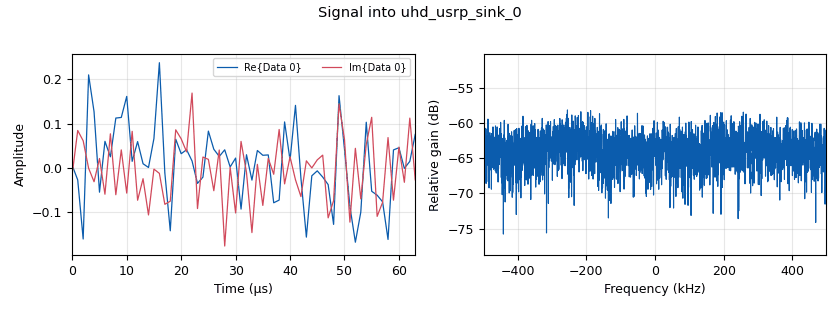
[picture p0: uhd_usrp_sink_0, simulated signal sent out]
options:
  parameters:
    generate_options: qt_gui
    id: kerem
    output_language: python
  states: {}

blocks:
- name: Data
  id: variable
  parameters:
    value: numpy.array(numpy.random.randint(M,size=dat_len))
  states: {}
- name: Data_0
  id: variable
  parameters:
    value: '[3,3,3,3,3,0,3,0,1,1,3,0,3,3,0,2,0,1,0,3,1,3,3,3,0,0,2,0,2,1,2,3,2,0,0,2,2,2,1,2,1,2,3,0,1,2,2,1,2,2]'
  states: {state: disabled}
- name: M
  id: variable_qtgui_chooser
  parameters:
    gui_hint: 3,1,1,1
    label: Modulation Order
    num_opts: '5'
    option0: '4'
    option1: '16'
    option2: '64'
    option3: '256'
    option4: '1024'
    orient: Qt.QHBoxLayout
    type: int
    value: '4'
    widget: radio_buttons
  states: {state: disabled}
- name: M
  id: variable
  parameters:
    value: '4'
  states: {}
- name: VGA
  id: variable_qtgui_range
  parameters:
    label: Gain
    orient: Qt.Horizontal
    start: '1'
    step: '1'
    stop: '1000'
    value: '2'
  states: {state: disabled}
- name: dat_len
  id: variable
  parameters:
    value: (fram_len//filt_len)
  states: {}
- name: filt_len
  id: variable
  parameters:
    value: span*sps+1
  states: {}
- name: fram_len
  id: variable
  parameters:
    value: '4096'
  states: {}
- name: frame_len
  id: variable
  parameters:
    value: dat_len*filt_len
  states: {}
- name: freq
  id: variable_qtgui_range
  parameters:
    gui_hint: 2,1,1,1
    label: Frequency
    orient: Qt.Horizontal
    start: '0'
    step: '0.05'
    stop: '0.5'
    value: '0.25'
  states: {}
- name: freq
  id: variable
  parameters:
    value: '0.25'
  states: {state: disabled}
- name: inph
  id: variable
  parameters:
    value: numpy.multiply(rrrc,numpy.cos(numpy.array(range(filt_len))*2*math.pi*freq))
  states: {}
- name: noise
  id: variable_qtgui_range
  parameters:
    gui_hint: 2,0,1,1
    label: Noise Power
    orient: Qt.Horizontal
    start: '-30'
    step: '0.5'
    stop: '10'
    value: '-10'
  states: {}
- name: quad
  id: variable
  parameters:
    value: numpy.multiply(rrrc,numpy.sin(numpy.array(range(filt_len))*2*math.pi*freq))
  states: {}
- name: rrrc
  id: variable_rrc_filter_taps
  parameters:
    alpha: '0.1'
    gain: numpy.sqrt(sps*2)
    ntaps: filt_len
    samp_rate: samp_rate
    sym_rate: samp_rate/sps
  states: {}
- name: samp_rate
  id: variable
  parameters:
    value: '1000000'
  states: {}
- name: span
  id: variable
  parameters:
    value: '8'
  states: {}
- name: sps
  id: variable
  parameters:
    value: '6'
  states: {}
- name: blocks_add_xx_0
  id: blocks_add_xx
  parameters:
    type: float
  states: {}
- name: blocks_complex_to_float_0
  id: blocks_complex_to_float
  parameters: {}
  states: {}
- name: blocks_complex_to_float_1
  id: blocks_complex_to_float
  parameters: {}
  states: {}
- name: blocks_complex_to_mag_squared_0
  id: blocks_complex_to_mag_squared
  parameters: {}
  states: {state: disabled}
- name: blocks_delay_0
  id: blocks_delay
  parameters:
    delay: '1'
    type: complex
  states: {state: disabled}
- name: blocks_file_sink_0
  id: blocks_file_sink
  parameters:
    file: /Users/keremenhos/Desktop/NEU/VLC v2/GNURadio/data_test.dat
    type: complex
  states: {state: disabled}
- name: blocks_file_sink_0_0
  id: blocks_file_sink
  parameters:
    file: /Users/keremenhos/Desktop/NEU/VLC v2/GNURadio/data_test2.dat
    type: complex
  states: {state: disabled}
- name: blocks_file_sink_0_1
  id: blocks_file_sink
  parameters:
    file: /Users/keremenhos/Desktop/NEU/VLC v2/GNURadio/data_test.dat
    type: float
  states: {state: disabled}
- name: blocks_float_to_complex_0
  id: blocks_float_to_complex
  parameters: {}
  states: {}
- name: blocks_float_to_complex_1
  id: blocks_float_to_complex
  parameters: {}
  states: {}
- name: blocks_keep_m_in_n_0
  id: blocks_keep_m_in_n
  parameters:
    m: '1'
    n: filt_len
    offset: filt_len-2
    type: complex
  states: {}
- name: blocks_keep_m_in_n_1
  id: blocks_keep_m_in_n
  parameters:
    m: frame_len
    n: fram_len
    offset: '0'
    type: float
  states: {}
- name: blocks_multiply_const_vxx_0
  id: blocks_multiply_const_vxx
  parameters:
    const: '0.15'
    type: complex
  states: {}
- name: blocks_null_sink_0
  id: blocks_null_sink
  parameters:
    type: complex
  states: {state: disabled}
- name: blocks_null_sink_1
  id: blocks_null_sink
  parameters:
    type: int
  states: {state: disabled}
- name: blocks_stream_to_tagged_stream_0
  id: blocks_stream_to_tagged_stream
  parameters:
    len_tag_key: packet_len
    packet_len: '510'
    type: float
  states: {}
- name: blocks_stream_to_tagged_stream_1
  id: blocks_stream_to_tagged_stream
  parameters:
    len_tag_key: packet_len
    maxoutbuf: '8192'
    packet_len: frame_len
    type: float
  states: {}
- name: blocks_stream_to_tagged_stream_2
  id: blocks_stream_to_tagged_stream
  parameters:
    len_tag_key: pck
    packet_len: frame_len
    type: float
  states: {}
- name: blocks_tag_gate_0
  id: blocks_tag_gate
  parameters:
    propagate_tags: 'False'
    type: float
  states: {}
- name: blocks_tagged_stream_mux_0
  id: blocks_tagged_stream_mux
  parameters:
    lengthtagname: packet_len
    ninputs: '2'
    type: float
  states: {}
- name: blocks_vector_insert_x_0
  id: blocks_vector_insert_x
  parameters:
    offset: '0'
    period: filt_len
    type: float
    vector: '[0]*(filt_len-1)'
  states: {}
- name: blocks_vector_insert_x_0_0
  id: blocks_vector_insert_x
  parameters:
    offset: '0'
    period: filt_len
    type: float
    vector: '[0]*(filt_len-1)'
  states: {}
- name: blocks_vector_source_x_0
  id: blocks_vector_source_x
  parameters:
    repeat: 'True'
    type: float
    vector: '[-1,-1,-1,-1,-1,-1,-1,-1,1,-1,-1,-1,1,-1,-1,-1,1,1,-1,-1,1,-1,-1,-1,1,1,1,-1,1,-1,1,-1,1,1,-1,1,1,-1,-1,-1,1,1,1,-1,-1,-1,1,-1,-1,1,-1,1,-1,1,-1,-1,-1,1,1,-1,1,1,-1,-1,1,1,1,1,1,-1,-1,1,1,1,1,-1,-1,-1,1,-1,1,1,-1,1,1,1,-1,-1,1,-1,1,-1,-1,1,-1,-1,-1,-1,-1,1,-1,-1,1,1,-1,-1,1,1,1,-1,1,-1,-1,-1,1,1,1,1,1,-1,1,1,1,1,-1,-1,-1,-1,-1,1,1,1,1,1,1,1,1,1,-1,-1,-1,-1,1,1,1,1,-1,1,1,1,-1,-1,-1,-1,1,-1,1,1,-1,-1,1,1,-1,1,1,-1,1,1,1,1,-1,1,-1,-1,-1,-1,1,1,1,-1,-1,1,1,-1,-1,-1,-1,1,-1,-1,1,-1,-1,-1,1,-1,1,-1,1,1,1,-1,1,-1,1,1,1,1,-1,-1,1,-1,-1,1,-1,1,1,1,-1,-1,1,1,1,-1,-1,-1,-1,-1,-1,1,1,1,-1,1,1,1,-1,1,-1,-1,1,1,1,1,-1,1,-1,1,-1,-1,1,-1,1,-1,-1,-1,-1,-1,-1,1,-1,1,-1,1,-1,1,-1,1,1,1,1,1,-1,1,-1,1,1,-1,1,-1,-1,-1,-1,-1,1,1,-1,1,1,1,-1,1,1,-1,1,1,-1,1,-1,1,1,-1,-1,-1,-1,-1,1,-1,1,1,1,-1,1,1,1,1,1,-1,-1,-1,1,1,1,1,-1,-1,1,1,-1,1,-1,-1,1,1,-1,1,-1,1,1,1,-1,-1,-1,1,1,-1,1,-1,-1,-1,1,-1,1,1,1,1,1,1,1,-1,1,-1,-1,1,-1,1,1,-1,-1,-1,1,-1,1,-1,-1,1,1,-1,-1,-1,1,1,-1,-1,-1,-1,-1,-1,-1,1,1,-1,-1,1,1,-1,-1,1,-1,1,-1,1,1,-1,-1,1,-1,-1,1,1,1,1,1,1,-1,1,1,-1,1,-1,-1,1,-1,-1,1,-1,-1,1,1,-1,1,1,1,1,1,1,-1,-1,1,-1,1,1,-1,1,-1,1,-1,-1,-1,-1,1,-1,1,-1,-1,-1,1,-1,-1,1,1,1,-1,1,1,-1,-1,1,-1,1,1,1,1,-1,1,1,-1,-1,-1,-1,1,1,-1,1,-1,1,-1,1,-1,-1,1,1,1,-1,-1,1,-1,-1,-1,-1,1,1,-1,-1,-1,1,-1,-1,-1,-1]'
  states: {}
- name: blocks_vector_source_x_0_0
  id: blocks_vector_source_x
  parameters:
    repeat: 'True'
    type: int
    vector: Data
  states: {}
- name: channels_channel_model_0
  id: channels_channel_model
  parameters:
    block_tags: 'True'
    epsilon: '1'
    freq_offset: '0'
    noise_voltage: 10.0**(noise/10.0)
    seed: '0'
    taps: '1'
  states: {}
- name: digital_corr_est_cc_0
  id: digital_corr_est_cc
  parameters:
    mark_delay: '509'
    sps: '1'
    symbols: '[-1,-1,-1,-1,-1,-1,-1,-1,1,-1,-1,-1,1,-1,-1,-1,1,1,-1,-1,1,-1,-1,-1,1,1,1,-1,1,-1,1,-1,1,1,-1,1,1,-1,-1,-1,1,1,1,-1,-1,-1,1,-1,-1,1,-1,1,-1,1,-1,-1,-1,1,1,-1,1,1,-1,-1,1,1,1,1,1,-1,-1,1,1,1,1,-1,-1,-1,1,-1,1,1,-1,1,1,1,-1,-1,1,-1,1,-1,-1,1,-1,-1,-1,-1,-1,1,-1,-1,1,1,-1,-1,1,1,1,-1,1,-1,-1,-1,1,1,1,1,1,-1,1,1,1,1,-1,-1,-1,-1,-1,1,1,1,1,1,1,1,1,1,-1,-1,-1,-1,1,1,1,1,-1,1,1,1,-1,-1,-1,-1,1,-1,1,1,-1,-1,1,1,-1,1,1,-1,1,1,1,1,-1,1,-1,-1,-1,-1,1,1,1,-1,-1,1,1,-1,-1,-1,-1,1,-1,-1,1,-1,-1,-1,1,-1,1,-1,1,1,1,-1,1,-1,1,1,1,1,-1,-1,1,-1,-1,1,-1,1,1,1,-1,-1,1,1,1,-1,-1,-1,-1,-1,-1,1,1,1,-1,1,1,1,-1,1,-1,-1,1,1,1,1,-1,1,-1,1,-1,-1,1,-1,1,-1,-1,-1,-1,-1,-1,1,-1,1,-1,1,-1,1,-1,1,1,1,1,1,-1,1,-1,1,1,-1,1,-1,-1,-1,-1,-1,1,1,-1,1,1,1,-1,1,1,-1,1,1,-1,1,-1,1,1,-1,-1,-1,-1,-1,1,-1,1,1,1,-1,1,1,1,1,1,-1,-1,-1,1,1,1,1,-1,-1,1,1,-1,1,-1,-1,1,1,-1,1,-1,1,1,1,-1,-1,-1,1,1,-1,1,-1,-1,-1,1,-1,1,1,1,1,1,1,1,-1,1,-1,-1,1,-1,1,1,-1,-1,-1,1,-1,1,-1,-1,1,1,-1,-1,-1,1,1,-1,-1,-1,-1,-1,-1,-1,1,1,-1,-1,1,1,-1,-1,1,-1,1,-1,1,1,-1,-1,1,-1,-1,1,1,1,1,1,1,-1,1,1,-1,1,-1,-1,1,-1,-1,1,-1,-1,1,1,-1,1,1,1,1,1,1,-1,-1,1,-1,1,1,-1,1,-1,1,-1,-1,-1,-1,1,-1,1,-1,-1,-1,1,-1,-1,1,1,1,-1,1,1,-1,-1,1,-1,1,1,1,1,-1,1,1,-1,-1,-1,-1,1,1,-1,1,-1,1,-1,1,-1,-1,1,1,1,-1,-1,1,-1,-1,-1,-1,1,1,-1,-1,-1,1,-1,-1,-1,-1]'
    threshold: '0.03'
    threshold_method: digital.THRESHOLD_ABSOLUTE
  states: {}
- name: epy_block_0
  id: epy_block
  parameters:
    M: M
    _source_code: |
      """
      Embedded Python Blocks:

      Each time this file is saved, GRC will instantiate the first class it finds
      to get ports and parameters of your block. The arguments to __init__  will
      be the parameters. All of them are required to have default values!
      """

      import numpy as np
      import time
      from gnuradio import gr


      class blk(gr.sync_block):  # other base classes are basic_block, decim_block, interp_block
          """Embedded Python Block example - a simple multiply const"""

          def __init__(self, M=4):  # only default arguments here
              """arguments to this function show up as parameters in GRC"""
              gr.sync_block.__init__(
                  self,
                  name='QAM Modulator',   # will show up in GRC
                  in_sig=[np.int32],
                  out_sig=[np.complex64]
              )
              self.M = M
              self.tM = self.M
              self.c = 0
              
          def modulat(self, MO):
              n = np.arange(0,MO)
              a = np.asarray([x^(x>>1) for x in n])
              D = np.sqrt(MO).astype(int)
              a = np.reshape(a,(D,D))
              a[1::2, :] = a[1::2, ::-1]
              nGray=np.reshape(a,(MO))
              x1 = nGray//D
              y = nGray%D
              Ay=2*y+1-D
              Ax=2*x1+1-D
              cons = Ax+1j*Ay
              cons = cons/np.max(np.absolute((np.real(cons))))
              return cons

          def work(self, input_items, output_items):
              
              self.cons = self.modulat(self.M)
                      
              for xx in range(len(input_items[0])):
                  output_items[0][xx] = self.cons[input_items[0][xx]]

              return len(output_items[0])
  states: {}
- name: epy_block_1
  id: epy_block
  parameters:
    _source_code: |
      import time
      import random
      import numpy as np

      from gnuradio import gr
      from gnuradio import gr_unittest
      from gnuradio import digital
      from gnuradio import blocks
      from gnuradio import grc
      import pmt
      import inspect

      class blk(gr.basic_block):
          def __init__(self, frame_length=1):
              
              gr.basic_block.__init__(
                  self,
                  name="Preamble Demux",
                  in_sig=[np.float32],
                  out_sig=[np.float32]
              )
              self.a = 0
              self.aa = 0
              self.buf = []
              self.off = 0
              self.det = 0
              self.flg2 = 0
              self.b = 0
              self.frame_length = frame_length
              
          def forecast(self, noutput_items, ninput_items_required):
              #setup size of input_items[i] for work call
              for i in range(len(ninput_items_required)):
                  ninput_items_required[i] = 4096
                  
          def general_work(self, input_items, output_items):
              in0 = input_items[0][:len(output_items[0])]
              out = output_items[0]
              
              if self.det == 0:
                  tags = self.get_tags_in_window(0, 0, len(in0))
                  for tag in tags:
                      offset = tag.offset
                      key = pmt.to_python(tag.key) # convert from PMT to python string
                      if key == 'corr_est':
                          self.off = offset
                          self.det = 1
                          self.flg2 = 0
                          self.buf.extend(in0[(self.off-self.aa)+1:])
                          break
                  if self.det == 0:
                      self.b = 0
                      if len(out) >= self.frame_length:
                          out[:self.frame_length] = np.zeros(self.frame_length)
                      else:
                          out[:] = np.zeros(len(out))
                          
              if len(self.buf)<self.frame_length and self.det == 1 and self.flg2 == 1:
                  self.buf.extend(in0)
              
              if len(self.buf)>=self.frame_length and self.det == 1 and len(out)>=self.frame_length:
                  out[:self.frame_length] = self.buf[:self.frame_length]
                  self.buf = []
                  self.det = 0
                  self.b = 1

              self.flg2 = 1
              self.aa = self.aa + len(in0)
              
              self.consume(0, len(in0)) #consume port 0 input
              
              if self.b == 0:
                  return 0
              else:
                  return 4096
    frame_length: fram_len
    minoutbuf: '4096'
  states: {}
- name: epy_block_2
  id: epy_block
  parameters:
    M: M
    _source_code: |
      """
      Embedded Python Blocks:

      Each time this file is saved, GRC will instantiate the first class it finds
      to get ports and parameters of your block. The arguments to __init__  will
      be the parameters. All of them are required to have default values!
      """
      import time
      import random
      import numpy as np

      from gnuradio import gr
      from gnuradio import gr_unittest
      from gnuradio import digital
      from gnuradio import blocks
      from gnuradio import grc
      import pmt
      import inspect


      class blk(gr.sync_block):  # other base classes are basic_block, decim_block, interp_block
          """Embedded Python Block example - a simple multiply const"""

          def __init__(self, data_length=1.0, M=4, tag='', bin_data=[]):  # only default arguments here
              """arguments to this function show up as parameters in GRC"""
              gr.sync_block.__init__(
                  self,
                  name='QAM Demodulator',   # will show up in GRC
                  in_sig=[np.complex64],
                  out_sig=[np.int32, np.float32]
              )
              # if an attribute with the same name as a parameter is found,
              # a callback is registered (properties work, too).
              self.data_length = data_length
              self.buf = []
              self.tag = tag
              self.aa = 0
              self.det = 0
              self.flg2 = 0
              self.bin_data = bin_data
              self.c = 0
              self.ber = 0
              self.cc = 0
              self.t = 0
              self.bert = 0
              self.M=M
              self.sM = int(np.sqrt(self.M))

              
          def get_minimum_distances(self, sample):
               if (sample.imag >= 0 and sample.real >= 0):
                   return 3 # 1+1j
               elif (sample.imag >= 0 and sample.real < 0):
                   return 1 # -1+1j
               elif (sample.imag < 0 and sample.real < 0):
                   return 0 # -1-1j
               elif (sample.imag < 0 and sample.real >= 0):
                   return 2 # 1-1j
                       
          def dec2bin(self, x, n=0):
              return format(x, 'b').zfill(n)

          def work(self, input_items, output_items):
              if self.det == 0:
                  tags = self.get_tags_in_window(0, 0, len(input_items[0]))
                  for tagg in tags:
                      offset = tagg.offset
                      key = pmt.to_python(tagg.key) # convert from PMT to python string
                      if key == self.tag:
                          self.off = offset
                          self.det = 1
                          self.flg2 = 0
                          self.buf.extend(input_items[0][(self.off-self.aa)+1:])
      #                    print(self.tag)
                          break
                          
              if len(self.buf)<self.data_length and self.det == 1 and self.flg2 == 1:
                  self.buf.extend(input_items[0])
                  
              if len(self.buf)>=self.data_length and self.det == 1 and len(output_items[0])>=self.data_length:
                  if self.buf[1] != 0:
                      for i in range(0, self.data_length):
                          d = self.buf[i]
                          output_items[0][i] = self.get_minimum_distances(d)
          #                    output_items[1][i] = self.bert
                          if self.dec2bin(output_items[0][i],int(np.sqrt(self.M))) != self.dec2bin(self.bin_data[i],int(np.sqrt(self.M))):
                              self.ber = self.ber + np.count_nonzero(np.array(list(map(int,(self.dec2bin(output_items[0][i],int(np.sqrt(self.M)))))))-np.array(list(map(int,(self.dec2bin(self.bin_data[i],int(np.sqrt(self.M))))))))
          #            output_items[1][:] = self.ber
          #            self.ber = 0
                      self.c = self.c + 1
                  
                  if self.c > 100000//(len(self.bin_data)*int(np.sqrt(self.M))):
                      self.bert = self.ber/(self.c*len(self.bin_data)*int(np.sqrt(self.M)))
                      print(self.bert)
                      self.c = 0
                      self.ber = 0
                      self.cc = 0
                  self.buf = []
                  self.det = 0
              output_items[1][:self.data_length] = self.bert
              self.flg2 = 1
              
              self.aa = self.aa + len(input_items[0])

              return len(output_items[0])
    bin_data: Data
    data_length: dat_len
    tag: '''pck'''
  states: {state: disabled}
- name: epy_block_3
  id: epy_block
  parameters:
    M: M
    _source_code: |
      """
      Embedded Python Blocks:

      Each time this file is saved, GRC will instantiate the first class it finds
      to get ports and parameters of your block. The arguments to __init__  will
      be the parameters. All of them are required to have default values!
      """

      import numpy as np
      import math
      import cmath
      from gnuradio import gr

      import time
      import random
      from gnuradio import gr_unittest
      from gnuradio import digital
      from gnuradio import blocks
      from gnuradio import grc
      import pmt
      import inspect

      class blk(gr.sync_block):  # other base classes are basic_block, decim_block, interp_block

          def __init__(self, data=[], M=4):  # only default arguments here
              gr.sync_block.__init__(
                  self,
                  name='CAP Equalizer',   # will show up in GRC
                  in_sig=[np.complex64],
                  out_sig=[np.complex64]
              )
              self.aa = 0
              self.off=0
              self.data = data
              self.M = M
              self.phOff = 0
              self.bin_d2 = []
              self.c = 0
              self.zz = []
              self.zy = 0
              self.a = []
              self.phOffT = 0
              self.phOffM = 0
      #        self.gain = gain
              
          def modulat(self, dat, MO):
              n = np.arange(0,MO)
              a = np.asarray([x^(x>>1) for x in n])
              D = np.sqrt(MO).astype(int)
              a = np.reshape(a,(D,D))
              a[1::2, :] = a[1::2, ::-1]
              nGray=np.reshape(a,(MO))
              x1 = nGray//D
              y = nGray%D
              Ay=2*y+1-D
              Ax=2*x1+1-D
              cons = Ax+1j*Ay
              cons = cons/np.max(np.absolute((np.real(cons))))
              xx=np.zeros(len(dat), dtype=complex)
              for yy in range(len(xx)):
                  xx[yy] = cons[dat[yy]]
              return xx
              
          def work(self, input_items, output_items):

              in0 = input_items[0]
              
              rmsR = (np.sqrt(np.mean(np.real(in0)**2)))
              rmsI = (np.sqrt(np.mean(np.imag(in0)**2)))
              if rmsR != 0 and rmsI != 0:
                  eq = np.array((1/np.sqrt(2))*np.real(in0)/rmsR)+np.array((1/np.sqrt(2))*np.imag(in0)/rmsI)*1j
              else:
                  eq = in0
                  
              self.bin_d2 = self.modulat(self.data,self.M)

              tags = self.get_tags_in_window(0, 0, len(in0))
              for tag in tags:
                  key = pmt.to_python(tag.key) # convert from PMT to python string
                  if key == 'pck':
                      self.off = tag.offset
                      if (self.off-self.aa) + len(self.bin_d2)+1 >= len(in0):
                          self.a = (in0[(self.off-self.aa)+1:])
      #                    self.zz = np.angle(np.multiply(self.bin_d2[:(len(in0)-(self.off-self.aa))],np.conj(self.a)))
                          self.phOff = (np.mean(np.angle(self.bin_d2[:(len(in0)-(self.off-self.aa)-1)]*np.conj(self.a))))
      #                    self.phOff = np.mean(self.zz)
                      else:
                          self.a = (in0[(self.off-self.aa)+1:(self.off-self.aa) + len(self.bin_d2)+1])
      #                    self.zz = (np.angle(np.multiply(self.bin_d2,np.conj(self.a))))
                          self.phOff = (np.mean(np.angle(self.bin_d2*np.conj(self.a))))
      #                    self.phOff = np.mean(self.zz)
                          
              output_items[0][:] = cmath.exp(np.real(self.phOff)*1j)*eq
              
              self.aa = self.aa + len(input_items[0])
              
      #        if np.real(output_items[0][0]) > 0.3:
      #            print("RX")
          
      #        self.c = self.c + 1
      #        if self.c == 1000:
      #            print(self.bin_d2[:10])
      #            self.c = 0
              
              
              return len(output_items[0])
    data: Data
  states: {}
- name: epy_module_0
  id: epy_module
  parameters:
    source_code: |
      import numpy as np

      np.random.seed(444)
  states: {}
- name: fir_filter_xxx_0
  id: fir_filter_xxx
  parameters:
    decim: '1'
    taps: quad
    type: fff
  states: {}
- name: fir_filter_xxx_0_0
  id: fir_filter_xxx
  parameters:
    decim: '1'
    taps: numpy.flip(quad)
    type: fff
  states: {}
- name: fir_filter_xxx_1
  id: fir_filter_xxx
  parameters:
    decim: '1'
    taps: inph
    type: fff
  states: {}
- name: fir_filter_xxx_1_0
  id: fir_filter_xxx
  parameters:
    decim: '1'
    taps: numpy.flip(inph)
    type: fff
  states: {}
- name: import_0
  id: import
  parameters:
    imports: import math,cmath,numpy, random, time
  states: {}
- name: qtgui_const_sink_x_0
  id: qtgui_const_sink_x
  parameters:
    gui_hint: (0,0,2,1)
    size: '4096'
    tr_mode: qtgui.TRIG_MODE_TAG
    tr_tag: pck
    type: complex
    update_time: '0.1'
  states: {}
- name: qtgui_const_sink_x_1
  id: qtgui_const_sink_x
  parameters:
    size: '1024'
    type: complex
  states: {state: disabled}
- name: qtgui_freq_sink_x_0
  id: qtgui_freq_sink_x
  parameters:
    bw: samp_rate
    fc: '0'
    fftsize: '1024'
    freqhalf: 'False'
    gui_hint: (1,1,1,1)
    type: float
    wintype: firdes.WIN_BLACKMAN_hARRIS
  states: {}
- name: qtgui_number_sink_1
  id: qtgui_number_sink
  parameters:
    color1: ("black", "white")
    graph_type: qtgui.NUM_GRAPH_HORIZ
    gui_hint: 3,0,1,1
    label1: BER
    min: '0'
    name: BER
    type: float
    update_time: '0.01'
  states: {state: disabled}
- name: qtgui_time_sink_x_0
  id: qtgui_time_sink_x
  parameters:
    size: '8192'
    srate: samp_rate
    tr_mode: qtgui.TRIG_MODE_TAG
    tr_tag: corr_est
    type: float
    update_time: '0.01'
    ymax: '30000'
  states: {state: disabled}
- name: qtgui_time_sink_x_1
  id: qtgui_time_sink_x
  parameters:
    gui_hint: 0,1,1,1
    nconnections: '2'
    size: '128'
    srate: samp_rate
    tr_mode: qtgui.TRIG_MODE_TAG
    tr_tag: pck
    type: complex
    update_time: '0.1'
  states: {state: disabled}
- name: qtgui_time_sink_x_1_2
  id: qtgui_time_sink_x
  parameters:
    gui_hint: (0,1,1,1)
    size: '64'
    srate: samp_rate
    tr_mode: qtgui.TRIG_MODE_TAG
    tr_tag: pck
    type: complex
    update_time: '0.1'
  states: {}
- name: qtgui_time_sink_x_2
  id: qtgui_time_sink_x
  parameters:
    size: '4096'
    srate: '1'
    tr_mode: qtgui.TRIG_MODE_TAG
    tr_tag: corr_est
    type: complex
  states: {state: disabled}
- name: uhd_usrp_sink_0
  id: uhd_usrp_sink
  parameters:
    ant0: TX/RX
    center_freq0: '0'
    dev_args: '""'
    gain0: '0'
    len_tag_name: ''
    norm_gain0: 'False'
    samp_rate: samp_rate
    sync: none
    type: fc32
  states: {}
- name: uhd_usrp_source_0
  id: uhd_usrp_source
  parameters:
    ant0: ''
    center_freq0: '0'
    dc_offs_enb0: '""'
    dev_args: '""'
    gain0: '0'
    iq_imbal_enb0: '""'
    norm_gain0: 'False'
    samp_rate: samp_rate
    sync: none
    type: fc32
  states: {}

connections:
- [blocks_add_xx_0, '0', blocks_stream_to_tagged_stream_1, '0']
- [blocks_complex_to_float_0, '0', blocks_vector_insert_x_0, '0']
- [blocks_complex_to_float_0, '1', blocks_vector_insert_x_0_0, '0']
- [blocks_complex_to_float_1, '0', epy_block_1, '0']
- [blocks_complex_to_mag_squared_0, '0', qtgui_time_sink_x_0, '0']
- [blocks_delay_0, '0', qtgui_time_sink_x_1, '1']
- [blocks_float_to_complex_0, '0', blocks_multiply_const_vxx_0, '0']
- [blocks_float_to_complex_1, '0', blocks_keep_m_in_n_0, '0']
- [blocks_keep_m_in_n_0, '0', epy_block_3, '0']
- [blocks_keep_m_in_n_1, '0', blocks_tag_gate_0, '0']
- [blocks_multiply_const_vxx_0, '0', channels_channel_model_0, '0']
- [blocks_stream_to_tagged_stream_0, '0', blocks_tagged_stream_mux_0, '0']
- [blocks_stream_to_tagged_stream_1, '0', blocks_tagged_stream_mux_0, '1']
- [blocks_stream_to_tagged_stream_2, '0', blocks_file_sink_0_1, '0']
- [blocks_stream_to_tagged_stream_2, '0', fir_filter_xxx_0_0, '0']
- [blocks_stream_to_tagged_stream_2, '0', fir_filter_xxx_1_0, '0']
- [blocks_stream_to_tagged_stream_2, '0', qtgui_freq_sink_x_0, '0']
- [blocks_tag_gate_0, '0', blocks_stream_to_tagged_stream_2, '0']
- [blocks_tagged_stream_mux_0, '0', blocks_float_to_complex_0, '0']
- [blocks_vector_insert_x_0, '0', fir_filter_xxx_1, '0']
- [blocks_vector_insert_x_0_0, '0', fir_filter_xxx_0, '0']
- [blocks_vector_source_x_0, '0', blocks_stream_to_tagged_stream_0, '0']
- [blocks_vector_source_x_0_0, '0', epy_block_0, '0']
- [channels_channel_model_0, '0', uhd_usrp_sink_0, '0']
- [digital_corr_est_cc_0, '0', blocks_complex_to_float_1, '0']
- [digital_corr_est_cc_0, '0', qtgui_time_sink_x_2, '0']
- [digital_corr_est_cc_0, '1', blocks_complex_to_mag_squared_0, '0']
- [epy_block_0, '0', blocks_complex_to_float_0, '0']
- [epy_block_0, '0', blocks_delay_0, '0']
- [epy_block_0, '0', blocks_file_sink_0_0, '0']
- [epy_block_0, '0', qtgui_const_sink_x_1, '0']
- [epy_block_1, '0', blocks_keep_m_in_n_1, '0']
- [epy_block_2, '0', blocks_null_sink_1, '0']
- [epy_block_2, '1', qtgui_number_sink_1, '0']
- [epy_block_3, '0', blocks_file_sink_0, '0']
- [epy_block_3, '0', blocks_null_sink_0, '0']
- [epy_block_3, '0', epy_block_2, '0']
- [epy_block_3, '0', qtgui_const_sink_x_0, '0']
- [epy_block_3, '0', qtgui_time_sink_x_1, '0']
- [epy_block_3, '0', qtgui_time_sink_x_1_2, '0']
- [fir_filter_xxx_0, '0', blocks_add_xx_0, '1']
- [fir_filter_xxx_0_0, '0', blocks_float_to_complex_1, '1']
- [fir_filter_xxx_1, '0', blocks_add_xx_0, '0']
- [fir_filter_xxx_1_0, '0', blocks_float_to_complex_1, '0']
- [uhd_usrp_source_0, '0', digital_corr_est_cc_0, '0']

metadata:
  file_format: 1
